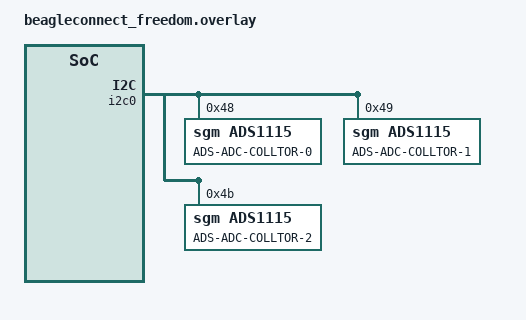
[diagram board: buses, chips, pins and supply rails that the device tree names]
/*
 * Copyright (c) 2020, Jason Kridner, BeagleBoard.org Foundation
 *
 * SPDX-License-Identifier: Apache-2.0
 */

&i2c0 {
	//0x48 ,0x49,0x4b
	adccollector0: ads1115_0@48 {
		compatible = "sgm,ads1115";
		reg = <0x48>;
		label = "ADS-ADC-COLLTOR-0";
	};

	adccollector1: ads1115_1@49 {
		compatible = "sgm,ads1115";
		reg = <0x49>;
		label = "ADS-ADC-COLLTOR-1";
	};

	adccollector2: ads1115_2@4b {
		compatible = "sgm,ads1115";
		reg = <0x4b>;
		label = "ADS-ADC-COLLTOR-2";
	};

};
